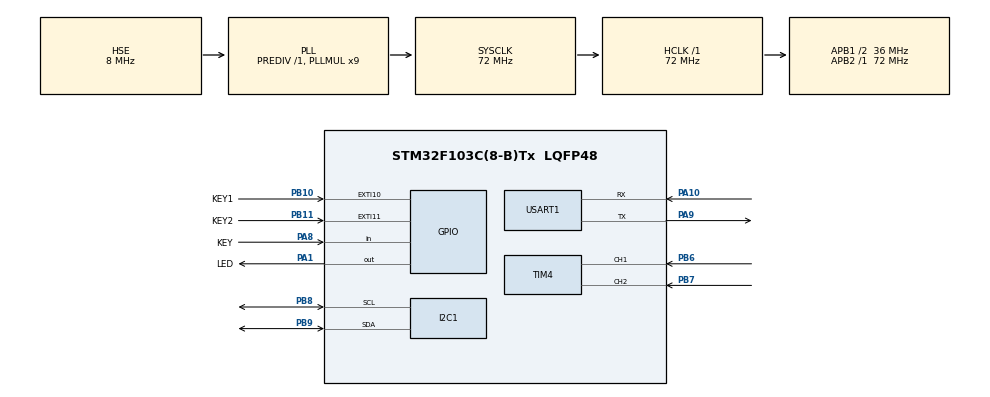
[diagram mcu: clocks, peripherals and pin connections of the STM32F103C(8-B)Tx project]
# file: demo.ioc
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I2C1.I2C_Mode=I2C_Fast
Mcu.Family=STM32F1
Mcu.Name=STM32F103C(8-B)Tx
Mcu.Package=LQFP48
Mcu.UserConstants=ENC_TIM,htim4
NVIC.PriorityGroup=NVIC_PRIORITYGROUP_4
NVIC.RTC_Alarm_IRQn=true\:0\:0\:false\:false\:true\:true\:true\:true
PA1.GPIO_Label=LED
PA1.GPIO_PuPd=GPIO_PULLUP
PA1.GPIO_Speed=GPIO_SPEED_FREQ_HIGH
PA1.Signal=GPIO_Output
PA10.Mode=Asynchronous
PA10.Signal=USART1_RX
PA13.Mode=Serial_Wire
PA13.Signal=SYS_JTMS-SWDIO
PA14.Mode=Serial_Wire
PA14.Signal=SYS_JTCK-SWCLK
PA8.GPIO_Label=KEY
PA8.GPIO_PuPd=GPIO_PULLUP
PA8.Signal=GPIO_Input
PA9.Mode=Asynchronous
PA9.Signal=USART1_TX
PB10.GPIO_Label=KEY1
PB10.GPIO_ModeDefaultEXTI=GPIO_MODE_EVT_RISING_FALLING
PB10.GPIO_PuPd=GPIO_PULLUP
PB10.Signal=GPXTI10
PB11.GPIO_Label=KEY2
PB11.GPIO_ModeDefaultEXTI=GPIO_MODE_EVT_RISING_FALLING
PB11.GPIO_PuPd=GPIO_PULLUP
PB11.Signal=GPXTI11
PB6.Signal=S_TIM4_CH1
PB7.Signal=S_TIM4_CH2
PB8.GPIO_Speed=GPIO_SPEED_FREQ_HIGH
PB8.Mode=I2C
PB8.Signal=I2C1_SCL
PB9.GPIO_Speed=GPIO_SPEED_FREQ_HIGH
PB9.Mode=I2C
PB9.Signal=I2C1_SDA
PD0-OSC_IN.Mode=HSE-External-Oscillator
PD0-OSC_IN.Signal=RCC_OSC_IN
PD1-OSC_OUT.Mode=HSE-External-Oscillator
PD1-OSC_OUT.Signal=RCC_OSC_OUT
ProjectManager.HeapSize=0x800
ProjectManager.StackSize=0x800
ProjectManager.TargetToolchain=MDK-ARM V5
RCC.AHBFreq_Value=72000000
RCC.APB1CLKDivider=RCC_HCLK_DIV2
RCC.APB1Freq_Value=36000000
RCC.APB1TimFreq_Value=72000000
RCC.APB2Freq_Value=72000000
RCC.APB2TimFreq_Value=72000000
RCC.HCLKFreq_Value=72000000
RCC.PLLMUL=RCC_PLL_MUL9
RCC.PLLSourceVirtual=RCC_PLLSOURCE_HSE
RCC.SYSCLKFreq_VALUE=72000000
RCC.SYSCLKSource=RCC_SYSCLKSOURCE_PLLCLK
RCC.USBFreq_Value=48000000
RCC.USBPrescaler=RCC_USBCLKSOURCE_PLL_DIV1_5
SH.S_TIM4_CH1.0=TIM4_CH1,Encoder_Interface
SH.S_TIM4_CH2.0=TIM4_CH2,Encoder_Interface
TIM4.EncoderMode=TIM_ENCODERMODE_TI12
TIM4.IC1Filter=15
TIM4.IC2Filter=15
USART1.VirtualMode=VM_ASYNC
VP_RTC_VS_RTC_Activate.Mode=RTC_Enabled
board=custom

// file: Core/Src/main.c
/* USER CODE BEGIN Header */
/**
  ******************************************************************************
  * @file           : main.c
  * @brief          : Main program body
  ******************************************************************************
  * @attention
  *
  * Copyright (c) 2025 STMicroelectronics.
  * All rights reserved.
  *
  * This software is licensed under terms that can be found in the LICENSE file
  * in the root directory of this software component.
  * If no LICENSE file comes with this software, it is provided AS-IS.
  *
  ******************************************************************************
  */
/* USER CODE END Header */
#include "main.h"

/* USER CODE BEGIN Includes */
#include "oled_menu.h"
#include "oled_draw.h"
#include "font.h"
/* USER CODE END Includes */

I2C_HandleTypeDef hi2c1;

RTC_HandleTypeDef hrtc;

TIM_HandleTypeDef htim4;

UART_HandleTypeDef huart1;

void SystemClock_Config(void);
static void MX_GPIO_Init(void);
static void MX_USART1_UART_Init(void);
static void MX_TIM4_Init(void);
static void MX_RTC_Init(void);
static void MX_I2C1_Init(void);

int main(void)
{

  /* MCU Configuration--------------------------------------------------------*/

  /* Reset of all peripherals, Initializes the Flash interface and the Systick. */
  HAL_Init();

  /* Configure the system clock */
  SystemClock_Config();

  /* Initialize all configured peripherals */
  MX_GPIO_Init();
  MX_USART1_UART_Init();
  MX_TIM4_Init();
  MX_RTC_Init();
  MX_I2C1_Init();
  /* USER CODE BEGIN 2 */

    int switchData  = 0;
    int switchData2 = 0;

    int data = 10;

    AddMenuItem(&mainMenu, "example2", NULL, NULL, NULL, NULL);
    AddMenuItem(&mainMenu, "switch", FunctionForCtrl, NULL, SWITCH_CTRL, &switchData);
    AddMenuItem(&mainMenu, "switch", FunctionForCtrl, NULL, SWITCH_CTRL, &switchData2);

    Menutypedef* subMenu = AddMenu("subMenu", NULL, 0, &mainMenu);
    AddMenuItem(subMenu, "exampleForSub", NULL, NULL, NULL, NULL);

    AddMenuItem(&mainMenu, "nextMenu", FunctionForNextMenu, subMenu, NULL, NULL);

    UI_Init();
  /* USER CODE END 2 */

  /* Infinite loop */
  /* USER CODE BEGIN WHILE */
  while (1)
  {
		   UI_UpDate();
        UI_Move();
        UI_Show();
    /* USER CODE END WHILE */

  }
}

void SystemClock_Config(void)
{
  RCC_OscInitTypeDef RCC_OscInitStruct = {0};
  RCC_ClkInitTypeDef RCC_ClkInitStruct = {0};
  RCC_PeriphCLKInitTypeDef PeriphClkInit = {0};

  /** Initializes the RCC Oscillators according to the specified parameters
  * in the RCC_OscInitTypeDef structure.
  */
  RCC_OscInitStruct.OscillatorType = RCC_OSCILLATORTYPE_LSI|RCC_OSCILLATORTYPE_HSE;
  RCC_OscInitStruct.HSEState = RCC_HSE_ON;
  RCC_OscInitStruct.HSEPredivValue = RCC_HSE_PREDIV_DIV1;
  RCC_OscInitStruct.HSIState = RCC_HSI_ON;
  RCC_OscInitStruct.LSIState = RCC_LSI_ON;
  RCC_OscInitStruct.PLL.PLLState = RCC_PLL_ON;
  RCC_OscInitStruct.PLL.PLLSource = RCC_PLLSOURCE_HSE;
  RCC_OscInitStruct.PLL.PLLMUL = RCC_PLL_MUL9;
  if (HAL_RCC_OscConfig(&RCC_OscInitStruct) != HAL_OK)
  {
    Error_Handler();
  }

  /** Initializes the CPU, AHB and APB buses clocks
  */
  RCC_ClkInitStruct.ClockType = RCC_CLOCKTYPE_HCLK|RCC_CLOCKTYPE_SYSCLK
                              |RCC_CLOCKTYPE_PCLK1|RCC_CLOCKTYPE_PCLK2;
  RCC_ClkInitStruct.SYSCLKSource = RCC_SYSCLKSOURCE_PLLCLK;
  RCC_ClkInitStruct.AHBCLKDivider = RCC_SYSCLK_DIV1;
  RCC_ClkInitStruct.APB1CLKDivider = RCC_HCLK_DIV2;
  RCC_ClkInitStruct.APB2CLKDivider = RCC_HCLK_DIV1;

  if (HAL_RCC_ClockConfig(&RCC_ClkInitStruct, FLASH_LATENCY_2) != HAL_OK)
  {
    Error_Handler();
  }
  PeriphClkInit.PeriphClockSelection = RCC_PERIPHCLK_RTC;
  PeriphClkInit.RTCClockSelection = RCC_RTCCLKSOURCE_LSI;
  if (HAL_RCCEx_PeriphCLKConfig(&PeriphClkInit) != HAL_OK)
  {
    Error_Handler();
  }
}

static void MX_I2C1_Init(void)
{

  hi2c1.Instance = I2C1;
  hi2c1.Init.ClockSpeed = 400000;
  hi2c1.Init.DutyCycle = I2C_DUTYCYCLE_2;
  hi2c1.Init.OwnAddress1 = 0;
  hi2c1.Init.AddressingMode = I2C_ADDRESSINGMODE_7BIT;
  hi2c1.Init.DualAddressMode = I2C_DUALADDRESS_DISABLE;
  hi2c1.Init.OwnAddress2 = 0;
  hi2c1.Init.GeneralCallMode = I2C_GENERALCALL_DISABLE;
  hi2c1.Init.NoStretchMode = I2C_NOSTRETCH_DISABLE;
  if (HAL_I2C_Init(&hi2c1) != HAL_OK)
  {
    Error_Handler();
  }

}

static void MX_RTC_Init(void)
{

  /** Initialize RTC Only
  */
  hrtc.Instance = RTC;
  hrtc.Init.AsynchPrediv = RTC_AUTO_1_SECOND;
  hrtc.Init.OutPut = RTC_OUTPUTSOURCE_ALARM;
  if (HAL_RTC_Init(&hrtc) != HAL_OK)
  {
    Error_Handler();
  }

}

static void MX_TIM4_Init(void)
{

  TIM_Encoder_InitTypeDef sConfig = {0};
  TIM_MasterConfigTypeDef sMasterConfig = {0};

  htim4.Instance = TIM4;
  htim4.Init.Prescaler = 0;
  htim4.Init.CounterMode = TIM_COUNTERMODE_UP;
  htim4.Init.Period = 65535;
  htim4.Init.ClockDivision = TIM_CLOCKDIVISION_DIV1;
  htim4.Init.AutoReloadPreload = TIM_AUTORELOAD_PRELOAD_DISABLE;
  sConfig.EncoderMode = TIM_ENCODERMODE_TI12;
  sConfig.IC1Polarity = TIM_ICPOLARITY_RISING;
  sConfig.IC1Selection = TIM_ICSELECTION_DIRECTTI;
  sConfig.IC1Prescaler = TIM_ICPSC_DIV1;
  sConfig.IC1Filter = 15;
  sConfig.IC2Polarity = TIM_ICPOLARITY_RISING;
  sConfig.IC2Selection = TIM_ICSELECTION_DIRECTTI;
  sConfig.IC2Prescaler = TIM_ICPSC_DIV1;
  sConfig.IC2Filter = 15;
  if (HAL_TIM_Encoder_Init(&htim4, &sConfig) != HAL_OK)
  {
    Error_Handler();
  }
  sMasterConfig.MasterOutputTrigger = TIM_TRGO_RESET;
  sMasterConfig.MasterSlaveMode = TIM_MASTERSLAVEMODE_DISABLE;
  if (HAL_TIMEx_MasterConfigSynchronization(&htim4, &sMasterConfig) != HAL_OK)
  {
    Error_Handler();
  }

}

static void MX_USART1_UART_Init(void)
{

  huart1.Instance = USART1;
  huart1.Init.BaudRate = 115200;
  huart1.Init.WordLength = UART_WORDLENGTH_8B;
  huart1.Init.StopBits = UART_STOPBITS_1;
  huart1.Init.Parity = UART_PARITY_NONE;
  huart1.Init.Mode = UART_MODE_TX_RX;
  huart1.Init.HwFlowCtl = UART_HWCONTROL_NONE;
  huart1.Init.OverSampling = UART_OVERSAMPLING_16;
  if (HAL_UART_Init(&huart1) != HAL_OK)
  {
    Error_Handler();
  }

}

static void MX_GPIO_Init(void)
{
  GPIO_InitTypeDef GPIO_InitStruct = {0};

  /* GPIO Ports Clock Enable */
  __HAL_RCC_GPIOD_CLK_ENABLE();
  __HAL_RCC_GPIOA_CLK_ENABLE();
  __HAL_RCC_GPIOB_CLK_ENABLE();

  /*Configure GPIO pin Output Level */
  HAL_GPIO_WritePin(LED_GPIO_Port, LED_Pin, GPIO_PIN_RESET);

  /*Configure GPIO pin : LED_Pin */
  GPIO_InitStruct.Pin = LED_Pin;
  GPIO_InitStruct.Mode = GPIO_MODE_OUTPUT_PP;
  GPIO_InitStruct.Pull = GPIO_PULLUP;
  GPIO_InitStruct.Speed = GPIO_SPEED_FREQ_HIGH;
  HAL_GPIO_Init(LED_GPIO_Port, &GPIO_InitStruct);

  /*Configure GPIO pins : KEY1_Pin KEY2_Pin */
  GPIO_InitStruct.Pin = KEY1_Pin|KEY2_Pin;
  GPIO_InitStruct.Mode = GPIO_MODE_EVT_RISING_FALLING;
  GPIO_InitStruct.Pull = GPIO_PULLUP;
  HAL_GPIO_Init(GPIOB, &GPIO_InitStruct);

  /*Configure GPIO pin : KEY_Pin */
  GPIO_InitStruct.Pin = KEY_Pin;
  GPIO_InitStruct.Mode = GPIO_MODE_INPUT;
  GPIO_InitStruct.Pull = GPIO_PULLUP;
  HAL_GPIO_Init(KEY_GPIO_Port, &GPIO_InitStruct);

}

void Error_Handler(void)
{
  __disable_irq();
  while (1)
  {
  }
}
